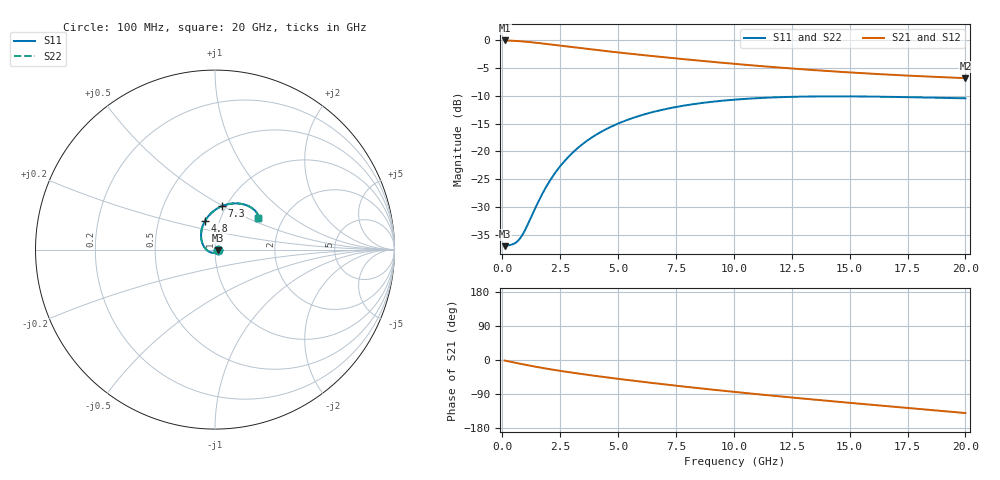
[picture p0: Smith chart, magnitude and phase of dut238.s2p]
! Touchstone file exported from HFSS 2024.1.0
!  File:  C:/UserFiles/LocalFiles/RDL_TSV_Batchsim/temp_RDL_TSV_238_1779453179.aedt
!  Generated:  08:50:32 PM May 22, 2026
!  Design:  RDL_TSV
!  Project:  temp_RDL_TSV_238_1779453179
!  Setup:  Setup1
!  Solution:  Sweep
! Variables:
!  dtsv = 9.71um
!  hbump = 3um
!  htsv = 84.6um
!  ldown = 286.8um
!  lrdl = 184.5um
!  p = 40
!  p1 = 46.37um
!  rhole = 10um
!  subl = 1598.4um
!  t = 450um
!  tdown = 4.56um
!  trdl = 2.19um
!  viad = 10um
!  wdown = 28.09um
!  wrdl = 10.83um
!  xbump = 18um
# GHz S MA R 50.000000
! Terminal data exported
! Port[1] = TM1_1_T1
! Port[2] = TM1_4_T1
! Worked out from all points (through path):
!   200 points, 100 MHz to 20 GHz, reference 50 ohm
!   highest |S21| = -0.13 dB at 100 MHz (marker M1); lowest = -6.9 dB at 20 GHz (marker M2)
!   group delay of S21, straight-line fit = 18.3 ps
!   lowest |S11| = -37.0 dB at 100 MHz (marker M3), VSWR 1.03, Z = 51.4 - j0.246 ohm
!   |S11| at or under -10 dB: start of sweep to end of sweep
!   |S22| runs from -37.0 to -10.2 dB; largest |S21 - S12| = 9.4e-15
!   S11 on the Smith chart (normalised r, x): 100 MHz: 1.03, -0.00; 4.8 GHz: 0.85, +0.28; 7.3 GHz: 0.96, +0.49; 20 GHz: 1.50, +0.58
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0.1  0.0142 -9.7  0.9855 -1.3  0.9855 -1.3  0.0142 -9.7
! Gamma 0 0 0 0
! Port Impedance 50 0 50 0
0.5  0.01492 -54.7  0.9784 -6.5  0.9784 -6.5  0.01492 -54.7
0.7  0.01603 -80.0  0.9725 -9.0  0.9725 -9.0  0.01604 -80.0
0.8  0.01703 -92.6  0.969 -10.3  0.969 -10.3  0.01703 -92.5
1  0.02011 -115.8  0.9612 -12.7  0.9612 -12.7  0.02011 -115.7
1.7  0.04071 -170.2  0.9273 -20.6  0.9273 -20.6  0.04067 -170.1
2.2  0.06081 167.2  0.9005 -25.7  0.9005 -25.7  0.06072 167.3
2.5  0.07378 156.8  0.8845 -28.6  0.8845 -28.6  0.07366 156.9
2.8  0.08703 148.0  0.8689 -31.4  0.8689 -31.4  0.08688 148.0
3.5  0.1178 131.2  0.8344 -37.6  0.8344 -37.6  0.1176 131.2
4.1  0.1431 119.7  0.8072 -42.5  0.8072 -42.5  0.1428 119.8
4.8  0.1704 108.7  0.7778 -48.1  0.7778 -48.1  0.17 108.7
5.7  0.2015 97.0  0.7429 -54.9  0.7429 -54.9  0.2011 97.0
6.8  0.2333 85.4  0.7038 -62.9  0.7038 -62.9  0.2328 85.4
7.3  0.2455 80.9  0.6873 -66.4  0.6873 -66.4  0.245 80.9
8.6  0.2713 70.8  0.6473 -75.1  0.6473 -75.1  0.2707 70.8
10.1  0.2917 61.5  0.6066 -84.7  0.6066 -84.7  0.291 61.4
11.7  0.3046 53.6  0.5693 -94.3  0.5693 -94.3  0.3039 53.6
13.4  0.3107 47.2  0.536 -104.1  0.536 -104.1  0.3099 47.2
15  0.3113 42.7  0.5099 -113.0  0.5099 -113.0  0.3104 42.6
16.7  0.3083 39.3  0.487 -122.3  0.487 -122.3  0.3075 39.2
20  0.2991 36.3  0.4533 -140.0  0.4533 -140.0  0.2982 36.3
